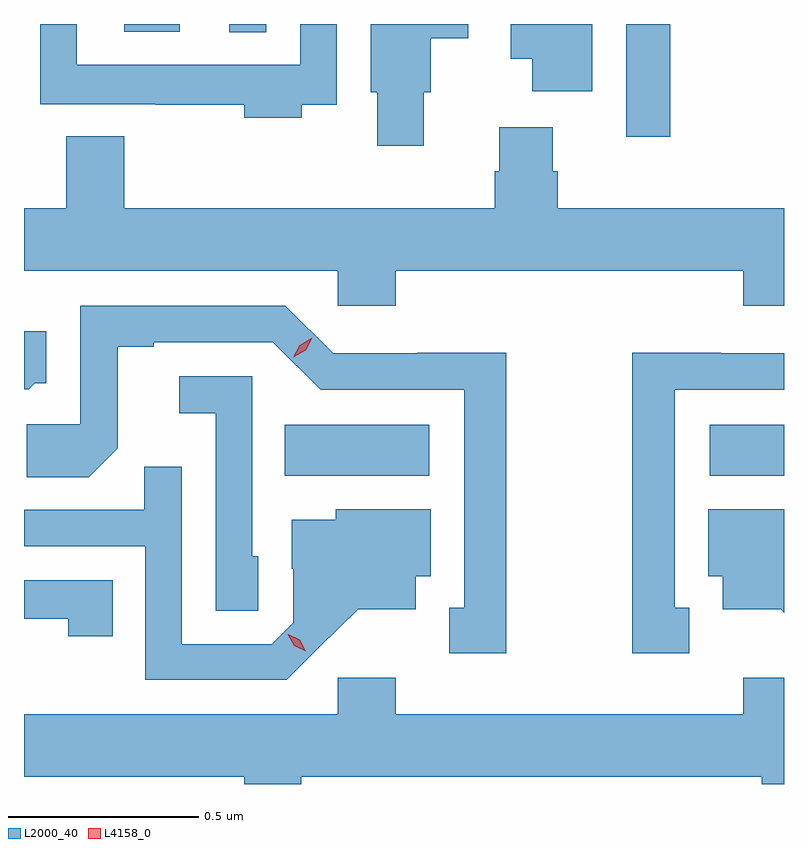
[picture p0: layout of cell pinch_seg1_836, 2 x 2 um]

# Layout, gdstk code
import gdstk
lib = gdstk.Library(unit=1e-6, precision=1e-09)
def R(c, l, rs):  # rectangles x0, y0, x1, y1
    for r in rs: c.add(gdstk.rectangle(r[:2], r[2:], *l))
def P(c, l, *ps):  # polygons
    for p in ps: c.add(gdstk.Polygon(p, *l))
L2000_40 = (2000, 40)
L4158_0 = (4158, 0)

pinch_seg1_836 = lib.new_cell('pinch_seg1_836')
R(pinch_seg1_836, L2000_40, [(478.804,557.852,479.185,557.986), (479.922,557.852,480.118,557.986), (479.703,558.744,479.819,559.041), (478.658,559.019,478.755,559.041), (478.382,559.02,478.528,559.041)])
P(pinch_seg1_836, L2000_40, [(478.849,558.828),(478.941,558.828),(478.941,559.041),(478.845,559.041),(478.845,558.934),(478.257,558.934),(478.257,559.041),(478.161,559.041),(478.161,558.83),(478.465,558.83),(478.465,558.828),(478.697,558.828),(478.697,558.794),(478.849,558.794)],
  [(479.17,558.861),(479.188,558.861),(479.188,559.003),(479.287,559.003),(479.287,559.041),(479.03,559.041),(479.03,558.861),(479.048,558.861),(479.048,558.72),(479.17,558.72)],
  [(479.614,559.041),(479.399,559.041),(479.399,558.95),(479.456,558.95),(479.456,558.864),(479.614,558.864)],
  [(479.096,558.392),(480.011,558.392),(480.011,558.299),(480.118,558.299),(480.118,558.556),(479.522,558.556),(479.522,558.654),(479.509,558.654),(479.509,558.769),(479.369,558.769),(479.369,558.654),(479.357,558.654),(479.357,558.556),(478.382,558.556),(478.382,558.745),(478.229,558.745),(478.229,558.556),(478.118,558.556),(478.118,558.392),(478.944,558.392),(478.944,558.299),(479.096,558.299)],
  [(479.387,558.176),(479.154,558.176),(479.154,558.174),(478.932,558.174),(478.806,558.3),(478.266,558.3),(478.266,557.988),(478.125,557.988),(478.125,557.848),(478.289,557.848),(478.365,557.924),(478.365,558.192),(478.459,558.192),(478.459,558.204),(478.773,558.204),(478.899,558.078),(479.276,558.078),(479.276,557.505),(479.237,557.505),(479.237,557.385),(479.387,557.385)],
  [(478.146,558.096),(478.177,558.096),(478.177,558.232),(478.118,558.232),(478.118,558.08),(478.13,558.08)],
  [(479.869,557.505),(479.83,557.505),(479.83,558.078),(480.118,558.078),(480.118,558.174),(479.952,558.174),(479.952,558.176),(479.719,558.176),(479.719,557.385),(479.869,557.385)],
  [(478.734,557.64),(478.719,557.64),(478.719,558.114),(478.527,558.114),(478.527,558.017),(478.623,558.017),(478.623,557.497),(478.734,557.497)],
  [(478.894,557.399),(478.997,557.501),(479.149,557.501),(479.149,557.588),(479.188,557.588),(479.188,557.764),(478.938,557.764),(478.938,557.737),(478.823,557.737),(478.823,557.608),(478.827,557.608),(478.827,557.466),(478.77,557.409),(478.533,557.409),(478.533,557.876),(478.435,557.876),(478.435,557.763),(478.118,557.763),(478.118,557.667),(478.437,557.667),(478.437,557.316),(478.81,557.316)],
  [(480.118,557.764),(479.918,557.764),(479.918,557.588),(479.957,557.588),(479.957,557.501),(480.109,557.501),(480.118,557.492)],
  [(478.352,557.577),(478.118,557.577),(478.118,557.476),(478.234,557.476),(478.234,557.43),(478.352,557.43)],
  [(478.848,557.06),(480.059,557.06),(480.059,557.041),(480.118,557.041),(480.118,557.32),(480.011,557.32),(480.011,557.224),(479.096,557.224),(479.096,557.32),(478.944,557.32),(478.944,557.224),(478.118,557.224),(478.118,557.06),(478.697,557.06),(478.697,557.041),(478.848,557.041)])
P(pinch_seg1_836, L4158_0, [(478.827,558.164),(478.827,558.164),(478.844,558.196),(478.876,558.215),(478.876,558.215),(478.876,558.215),(478.859,558.182),(478.827,558.164)],
  [(478.86,557.39),(478.829,557.405),(478.812,557.435),(478.812,557.435),(478.813,557.435),(478.843,557.42),(478.86,557.39),(478.86,557.39)])

lib.write_gds('pinch_seg1_836.gds')
